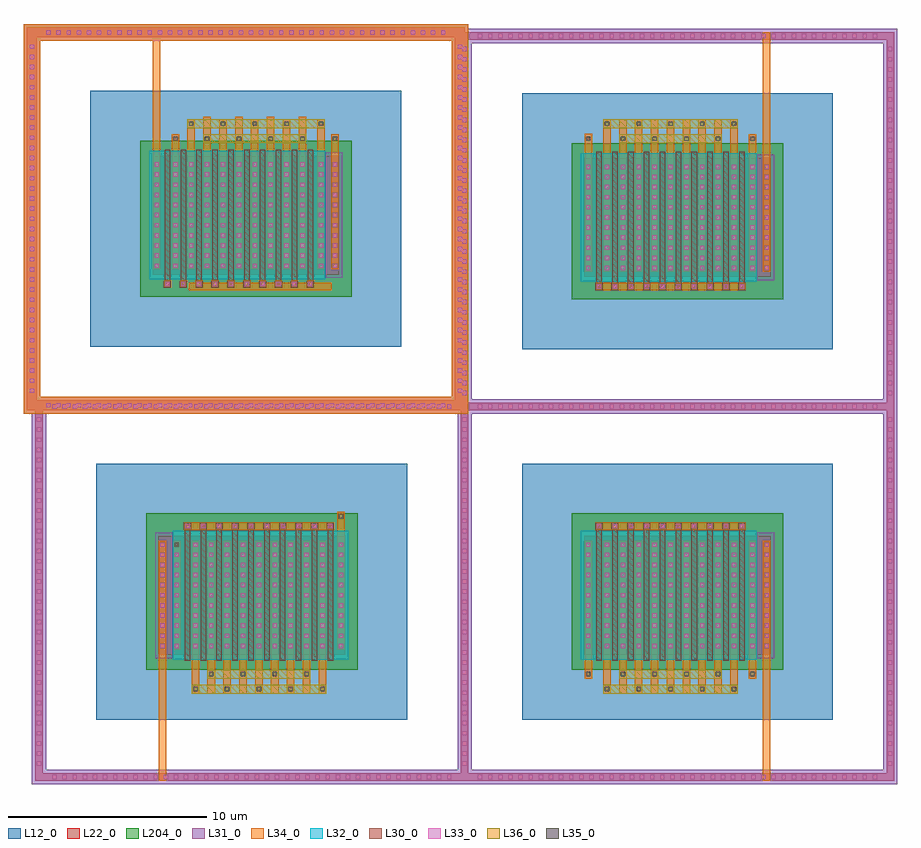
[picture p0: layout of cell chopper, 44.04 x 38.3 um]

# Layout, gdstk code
from math import pi, radians
import gdstk
lib = gdstk.Library(unit=1e-6, precision=1e-09)
def R(c, l, rs):  # rectangles x0, y0, x1, y1
    for r in rs: c.add(gdstk.rectangle(r[:2], r[2:], *l))
def A(c, l, x, y, w, h, nx, ny, dx, dy):  # array of equal rectangles
    R(c, l, [(x+i*dx, y+j*dy, x+i*dx+w, y+j*dy+h) for i in range(nx) for j in range(ny)])
def P(c, l, *ps):  # polygons
    for p in ps: c.add(gdstk.Polygon(p, *l))
L12_0 = (12, 0)
L22_0 = (22, 0)
L30_0 = (30, 0)
L31_0 = (31, 0)
L32_0 = (32, 0)
L33_0 = (33, 0)
L34_0 = (34, 0)
L35_0 = (35, 0)
L36_0 = (36, 0)
L204_0 = (204, 0)

nfet = lib.new_cell('nfet')
R(nfet, L12_0, [(-3.55,-3.26,12.12,9.632)])
R(nfet, L22_0, [(-0.42,0,0,6), (0,0,7.86,6), (7.86,0,8.28,6), (8.28,0,8.99,6)])
P(nfet, L22_0, [(-6.63,-6.34),(-6.63,12.332),(-6.25,12.332),(-6.25,-5.96),(14.82,-5.96),(14.82,12.332),(-6.63,12.332),(-6.63,12.712),(15.2,12.712),(15.2,-6.34)])
A(nfet, L30_0, 0.19, -0.3, 0.28, 6.6, 10, 1, 0.8, 0)
A(nfet, L30_0, 0.15, 6.3, 0.36, 0.36, 10, 1, 0.8, 0)
R(nfet, L31_0, [(8.28,-0.17,9.16,6.17)])
P(nfet, L31_0, [(-6.8,-6.51),(-6.8,12.162),(-6.08,12.162),(-6.08,-5.79),(14.65,-5.79),(14.65,12.162),(-6.8,12.162),(-6.8,12.882),(15.37,12.882),(15.37,-6.51)])
R(nfet, L32_0, [(-0.59,-0.24,8.28,6.24)])
A(nfet, L33_0, -5.77, -6.26, 0.22, 0.22, 40, 2, 0.51, 18.672)
A(nfet, L33_0, -6.55, -5.594, 0.22, 0.22, 1, 35, 0, 0.51)
A(nfet, L33_0, 14.9, -5.594, 0.22, 0.22, 1, 35, 0, 0.51)
A(nfet, L33_0, -0.32, 0.34, 0.22, 0.22, 1, 11, 0, 0.51)
A(nfet, L33_0, 0.62, 0.34, 0.22, 0.22, 9, 11, 0.8, 0.51)
A(nfet, L33_0, 7.96, 0.34, 0.22, 0.22, 1, 11, 0, 0.51)
A(nfet, L33_0, 8.67, 0.34, 0.22, 0.22, 1, 11, 0, 0.51)
A(nfet, L33_0, 0.22, 6.37, 0.22, 0.22, 10, 1, 0.8, 0)
A(nfet, L34_0, 0.54, 0.26, 0.38, 5.48, 9, 1, 0.8, 0)
A(nfet, L34_0, 0.14, 6.289, 0.38, 0.382, 10, 1, 0.8, 0)
R(nfet, L34_0, [(-0.4,0.26,-0.02,5.74), (7.88,0.26,8.26,5.74), (8.59,0.26,8.97,5.74)])
R(nfet, L204_0, [(-1.04,-0.75,9.61,7.122)])

nfet_1 = lib.new_cell('nfet$1')
R(nfet_1, L12_0, [(-3.55,-3.26,12.12,9.63)])
R(nfet_1, L22_0, [(-0.42,0,0,6), (0,0,7.86,6), (7.86,0,8.28,6), (8.28,0,8.99,6)])
P(nfet_1, L22_0, [(-6.75,-6.46),(-6.75,12.33),(-6.25,12.33),(-6.25,-5.96),(14.82,-5.96),(14.82,12.33),(-6.75,12.33),(-6.75,12.83),(15.32,12.83),(15.32,-6.46)])
A(nfet_1, L30_0, 0.19, -0.3, 0.28, 6.6, 10, 1, 0.8, 0)
A(nfet_1, L30_0, 0.15, 6.3, 0.36, 0.36, 10, 1, 0.8, 0)
R(nfet_1, L31_0, [(8.28,-0.17,9.16,6.17)])
P(nfet_1, L31_0, [(-6.92,-6.63),(-6.92,12.16),(-6.08,12.16),(-6.08,-5.79),(14.65,-5.79),(14.65,12.16),(-6.92,12.16),(-6.92,13),(15.49,13),(15.49,-6.63)])
R(nfet_1, L32_0, [(-0.59,-0.24,8.28,6.24)])
A(nfet_1, L33_0, -5.77, -6.32, 0.22, 0.22, 40, 2, 0.51, 18.79)
A(nfet_1, L33_0, -6.61, -5.595, 0.22, 0.22, 1, 35, 0, 0.51)
A(nfet_1, L33_0, 14.96, -5.595, 0.22, 0.22, 1, 35, 0, 0.51)
A(nfet_1, L33_0, -0.32, 0.34, 0.22, 0.22, 1, 11, 0, 0.51)
A(nfet_1, L33_0, 0.62, 0.34, 0.22, 0.22, 9, 11, 0.8, 0.51)
A(nfet_1, L33_0, 7.96, 0.34, 0.22, 0.22, 1, 11, 0, 0.51)
A(nfet_1, L33_0, 8.67, 0.34, 0.22, 0.22, 1, 11, 0, 0.51)
A(nfet_1, L33_0, 0.22, 6.37, 0.22, 0.22, 10, 1, 0.8, 0)
A(nfet_1, L34_0, 0.54, 0.26, 0.38, 5.48, 9, 1, 0.8, 0)
A(nfet_1, L34_0, 0.14, 6.29, 0.38, 0.38, 10, 1, 0.8, 0)
R(nfet_1, L34_0, [(-0.4,0.26,-0.02,5.74), (7.88,0.26,8.26,5.74), (8.59,0.26,8.97,5.74)])
R(nfet_1, L204_0, [(-1.04,-0.75,9.61,7.12)])

osc_inv = lib.new_cell('OSC_INV')
R(osc_inv, L34_0, [(0,-355.18,22.41,-354.34), (21.57,-355.18,22.41,-336.4), (0,-354.34,0.84,-336.06), (0,-336.39,22.41,-335.55)])
osc_inv.add(gdstk.Reference(nfet_1, (6.92,-348.55)))

chopper = lib.new_cell('chopper')
A(chopper, L34_0, -5.55, -33.8, 0.38, 2.218, 9, 1, 0.8, 0)
A(chopper, L34_0, 15.19, -33.8, 0.38, 2.218, 9, 2, 0.8, 26.742)
A(chopper, L34_0, -5.76, -7.058, 0.38, 2.218, 4, 1, 1.6, 0)
A(chopper, L34_0, -4.96, -6.938, 0.38, 2.218, 4, 1, 1.6, 0)
R(chopper, L34_0, [(-7.2,-38.18,-6.82,-31.58), (23.24,-38.18,23.62,-31.58), (14.25,-33.05,14.63,-31.582), (22.53,-33.04,22.91,-31.582), (1.79,-26.1,2.17,-24.642), (-5.95,-25.551,1.63,-25.169), (14.79,-25.551,22.18,-25.169), (-5.7,-13.469,1.52,-13.087), (14.79,-13.469,22.37,-13.087), (-7.5,-7.06,-7.12,-0.46), (23.24,-7.06,23.62,-0.46), (-6.56,-7.058,-6.18,-5.6), (0.78,-7.058,1.16,-4.84), (1.49,-7.058,1.87,-5.6), (14.25,-7.058,14.63,-5.59), (22.53,-7.058,22.91,-5.6)])
A(chopper, L35_0, -5.47, -33.67, 0.22, 0.22, 5, 1, 1.6, 0)
A(chopper, L35_0, 15.27, -33.67, 0.22, 0.22, 5, 2, 1.6, 28.48)
A(chopper, L35_0, -4.67, -32.92, 0.22, 0.22, 4, 1, 1.6, 0)
A(chopper, L35_0, 16.07, -32.92, 0.22, 0.22, 4, 2, 1.6, 26.98)
A(chopper, L35_0, -6.48, -5.94, 0.22, 0.22, 5, 1, 1.6, 0)
A(chopper, L35_0, -5.68, -5.19, 0.22, 0.22, 4, 1, 1.6, 0)
R(chopper, L35_0, [(14.33,-32.92,14.55,-32.7), (22.61,-32.92,22.83,-32.7), (-6.41,-26.402,-6.19,-26.182), (1.87,-24.982,2.09,-24.762), (1.57,-5.94,1.79,-5.72), (14.33,-5.94,14.55,-5.72), (22.61,-5.94,22.83,-5.72), (0.86,-5.19,1.08,-4.97)])
R(chopper, L36_0, [(-5.55,-33.8,1.23,-33.34), (15.19,-33.8,21.97,-33.34), (-4.75,-33.04,0.43,-32.58), (15.99,-33.04,21.17,-32.58), (-4.96,-6.06,0.22,-5.6), (15.99,-6.06,21.17,-5.6), (-5.76,-5.3,1.16,-4.84), (15.19,-5.3,21.97,-4.84)])
chopper.add(gdstk.Reference(nfet, (14.65,-31.84)))
chopper.add(gdstk.Reference(nfet, (1.77,-31.84), rotation=pi, x_reflection=True))
chopper.add(gdstk.Reference(nfet, (14.65,-6.798), x_reflection=True))
chopper.add(gdstk.Reference(osc_inv, (-14.02,-355.23), x_reflection=True))

lib.write_gds('chopper.gds')
